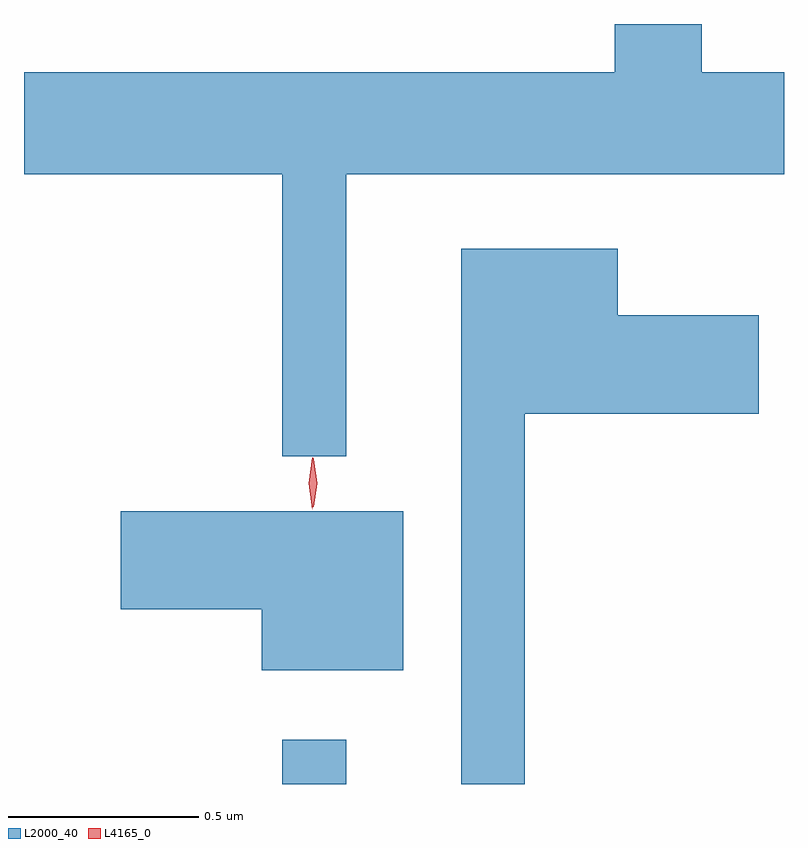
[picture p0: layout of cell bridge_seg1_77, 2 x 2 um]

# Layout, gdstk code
import gdstk
lib = gdstk.Library(unit=1e-6, precision=1e-09)
def R(c, l, rs):  # rectangles x0, y0, x1, y1
    for r in rs: c.add(gdstk.rectangle(r[:2], r[2:], *l))
def P(c, l, *ps):  # polygons
    for p in ps: c.add(gdstk.Polygon(p, *l))
L2000_40 = (2000, 40)
L4165_0 = (4165, 0)

bridge_seg1_77 = lib.new_cell('bridge_seg1_77')
R(bridge_seg1_77, L2000_40, [(1699.421,842.471,1699.589,842.588)])
P(bridge_seg1_77, L2000_40, [(1699.589,844.076),(1700.741,844.076),(1700.741,844.344),(1700.524,844.344),(1700.524,844.471),(1700.296,844.471),(1700.296,844.344),(1698.741,844.344),(1698.741,844.076),(1699.421,844.076),(1699.421,843.333),(1699.589,843.333)],
  [(1700.059,843.446),(1700.674,843.446),(1700.674,843.704),(1700.304,843.704),(1700.304,843.879),(1699.891,843.879),(1699.891,842.471),(1700.059,842.471)],
  [(1699.739,843.189),(1698.996,843.189),(1698.996,842.931),(1699.366,842.931),(1699.366,842.771),(1699.739,842.771)])
P(bridge_seg1_77, L4165_0, [(1699.502,843.2),(1699.493,843.263),(1699.502,843.326),(1699.503,843.327),(1699.503,843.326),(1699.513,843.263),(1699.503,843.2),(1699.503,843.2)],
  [(1699.499,843.194),(1699.499,843.194),(1699.49,843.262),(1699.5,843.33),(1699.501,843.33),(1699.502,843.33),(1699.51,843.262),(1699.5,843.194)])

lib.write_gds('bridge_seg1_77.gds')
